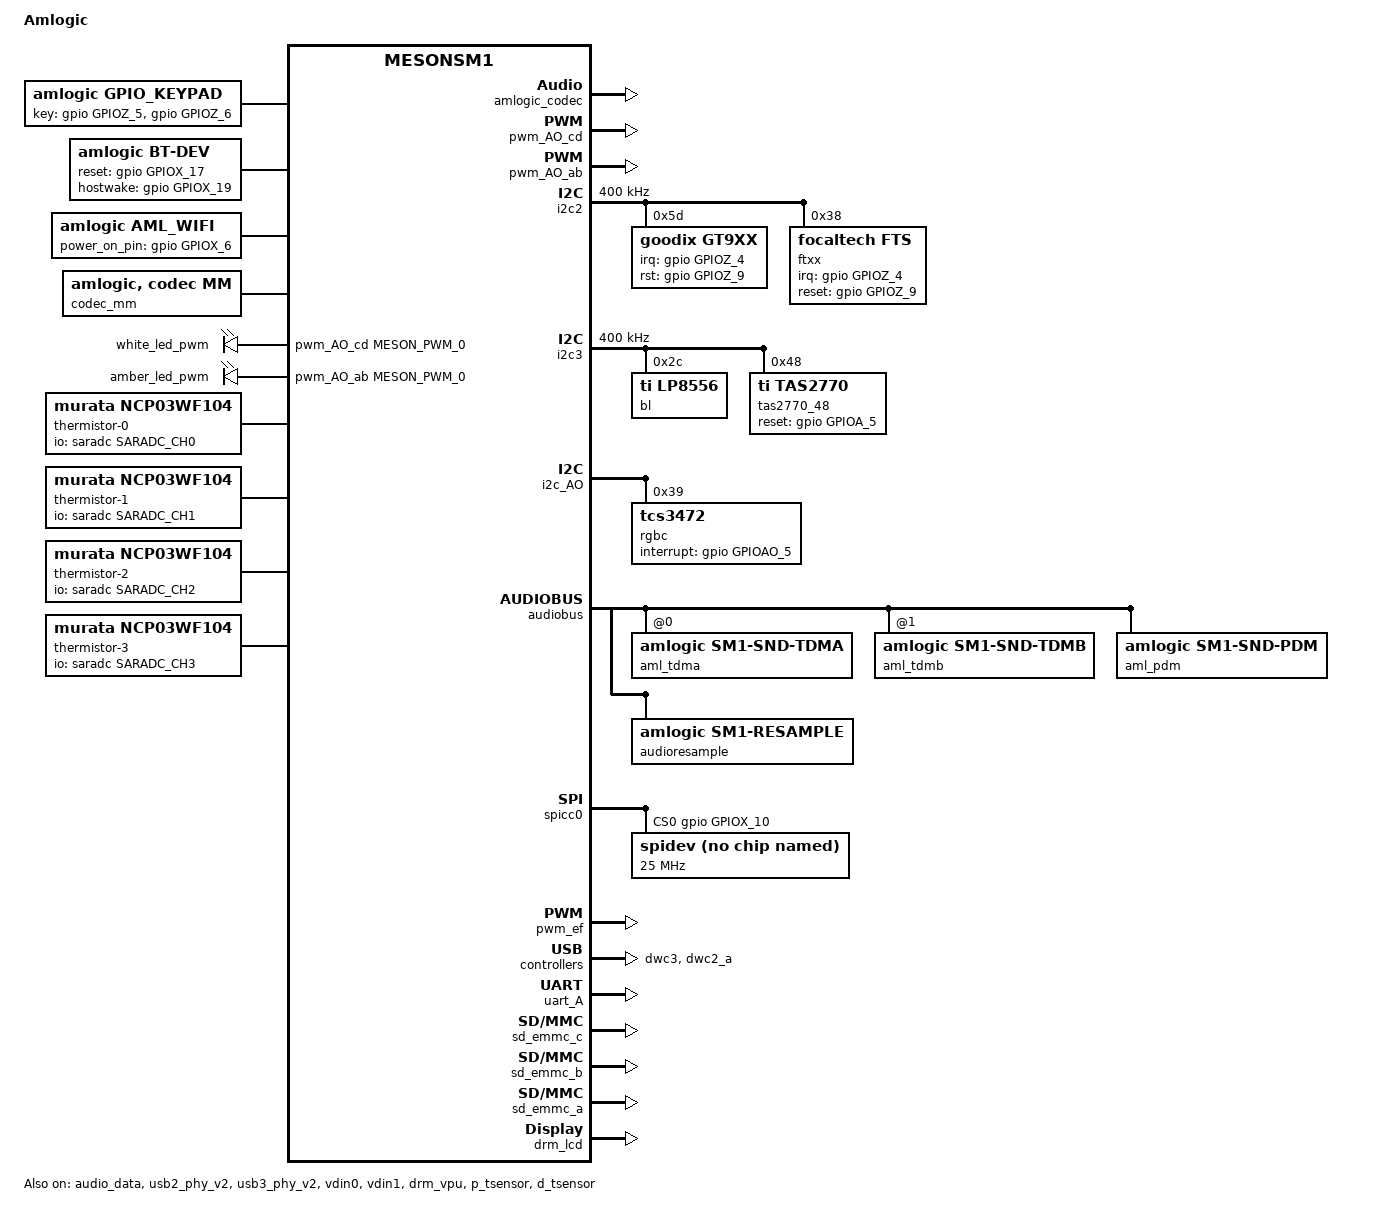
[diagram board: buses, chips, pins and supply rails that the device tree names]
/*
 * arch/arm64/boot/dts/amlogic/elaine-p0.dts
 *
 * Copyright (C) 2017 Amlogic, Inc. All rights reserved.
 *
 * This program is free software; you can redistribute it and/or modify
 * it under the terms of the GNU General Public License as published by
 * the Free Software Foundation; either version 2 of the License, or
 * (at your option) any later version.
 *
 * This program is distributed in the hope that it will be useful, but WITHOUT
 * ANY WARRANTY; without even the implied warranty of MERCHANTABILITY or
 * FITNESS FOR A PARTICULAR PURPOSE.  See the GNU General Public License for
 * more details.
 *
 */

/dts-v1/;

#include "mesonsm1.dtsi"
#include "elaine-sm1-panel.dtsi"
#include "elaine-px-partition.dtsi"
#include "mesong12a_drm.dtsi"

/ {
	model = "Amlogic";
	compatible = "amlogic, g12a";
	interrupt-parent = <&gic>;
	#address-cells = <2>;
	#size-cells = <2>;

	aliases {
		serial0 = &uart_AO;
		serial1 = &uart_A;
		serial2 = &uart_B;
		serial3 = &uart_C;
		serial4 = &uart_AO_B;
		tsensor0 = &p_tsensor;
		tsensor1 = &d_tsensor;
		i2c0 = &i2c0;
		i2c1 = &i2c1;
		i2c2 = &i2c2;
		i2c3 = &i2c3;
		i2c4 = &i2c_AO;
	};

	memory@00000000 {
		device_type = "memory";
		linux,usable-memory = <0x0 0x100000 0x0 0x5ff00000>;
	};

	reserved-memory {
		#address-cells = <2>;
		#size-cells = <2>;
		ranges;
		/* global autoconfigured region for contiguous allocations */
		ramoops@0x07400000 {
			compatible = "ramoops";
			reg = <0x0 0x07400000 0x0 0x00100000>;
			record-size = <0x8000>;
			console-size = <0x8000>;
			ftrace-size = <0x0>;
			pmsg-size = <0x8000>;
		};
		secmon_reserved:linux,secmon {
			compatible = "shared-dma-pool";
			reusable;
			size = <0x0 0x2400000>;
			alignment = <0x0 0x400000>;
			alloc-ranges = <0x0 0x05000000 0x0 0x2400000>;
			clear-map;
		};
		secos_reserved:linux,secos {
			status = "disable";
			compatible = "amlogic, aml_secos_memory";
			reg = <0x0 0x05300000 0x0 0x2000000>;
			no-map;
		};
		logo_reserved:linux,meson-fb {
			compatible = "shared-dma-pool";
			reusable;
			size = <0x0 0x800000>;
			alignment = <0x0 0x400000>;
			alloc-ranges = <0x0 0x5f800000 0x0 0x800000>;
		};
		ion_cma_reserved:linux,ion-dev {
			compatible = "shared-dma-pool";
			reusable;
			size = <0x0 0x8000000>;
			alignment = <0x0 0x400000>;
		};
		//di_reserved:linux,di {
			//compatible = "amlogic, di-mem";
			/* buffer_size = 3621952(yuv422 8bit) */
			/* 4179008(yuv422 10bit full pack mode) */
			/** 10x3621952=34.6M(0x23) support 8bit **/
			/** 10x4736064=45.2M(0x2e) support 12bit **/
			/** 10x4179008=40M(0x28) support 10bit **/
			//size = <0x0 0x2800000>;
			//no-map;
		//};
		/*  POST PROCESS MANAGER */
		ppmgr_reserved:linux,ppmgr {
			compatible = "shared-dma-pool";
			size = <0x0 0x0>;
		};

		codec_mm_cma:linux,codec_mm_cma {
			compatible = "shared-dma-pool";
			reusable;
			/* ion_codec_mm max can alloc size 80M*/
			size = <0x0 0xc800000>;
			alignment = <0x0 0x400000>;
			linux,contiguous-region;
			clear-map;
		};
		/* codec shared reserved */
		codec_mm_reserved:linux,codec_mm_reserved {
			compatible = "amlogic, codec-mm-reserved";
			size = <0x0 0x0>;
			alignment = <0x0 0x100000>;
			//no-map;
		};
		/* YUV decoder V4L2 CMA */
		codec_yuvdecoder_cma:linux,yuvdecoder_cma {
			compatible = "shared-dma-pool";
			size = <0x0 0xc00000>;
			linux,contiguous-region;
		};
		/*  vdin0 CMA pool */
		vdin0_cma_reserved:linux,vdin0_cma {
			compatible = "shared-dma-pool";
			reusable;
		/* 1920x1080x2x4  =16+4 M */
			size = <0x0 0x04000000>;
			alignment = <0x0 0x400000>;
		};
		/*  vdin1 CMA pool */
		vdin1_cma_reserved:linux,vdin1_cma {
			compatible = "shared-dma-pool";
			reusable;
			/* 1920x1080x2x4  =16 M */
			size = <0x0 0x04000000>;
			alignment = <0x0 0x400000>;
		};
	};

	galcore {
		status = "okay";
	};

	gpio_key {
		compatible = "amlogic, gpio_keypad";
		status = "okay";
		scan_period = <20>;
		key_num = <2>;
		key_name = "vol_up", "vol_down";
		key_code = <115 114>;
		key-gpios = <&gpio  GPIOZ_5  GPIO_ACTIVE_HIGH
					&gpio  GPIOZ_6  GPIO_ACTIVE_HIGH>;
		interrupts = < 0 70 1
			0 71 2>;
		interrupt-names = "irq_keyup", "irq_keydown";
	};

	cvbsout {
		compatible = "amlogic, cvbsout-sm1";
		dev_name = "cvbsout";
		status = "disabled";
		clocks = <&clkc CLKID_VCLK2_ENCI
			&clkc CLKID_VCLK2_VENCI0
			&clkc CLKID_VCLK2_VENCI1
			&clkc CLKID_DAC_CLK>;
		clock-names = "venci_top_gate",
			"venci_0_gate",
			"venci_1_gate",
			"vdac_clk_gate";
		/* clk path */
		/* 0:vid_pll vid2_clk */
		/* 1:gp0_pll vid2_clk */
		/* 2:vid_pll vid1_clk */
		/* 3:gp0_pll vid1_clk */
		clk_path = <0>;

		/* performance: reg_address, reg_value */
		/* sm1 */
		performance = <0x1bf0  0x9
			0x1b56  0x333
			0x1b12  0x8080
			0x1b05  0xfd
			0x1c59  0xf850
			0xffff  0x0>; /* ending flag */
		performance_sarft = <0x1bf0  0x9
			0x1b56  0x333
			0x1b12  0x0
			0x1b05  0x9
			0x1c59  0xfc48
			0xffff  0x0>; /* ending flag */
		performance_revB_telecom = <0x1bf0  0x9
			0x1b56  0x546
			0x1b12  0x8080
			0x1b05  0x9
			0x1c59  0xf850
			0xffff  0x0>; /* ending flag */
	};

	bt-dev{
		compatible = "amlogic, bt-dev";
		dev_name = "bt-dev";
		status = "okay";
		gpio_reset = <&gpio       GPIOX_17       GPIO_ACTIVE_HIGH>;
		gpio_hostwake = <&gpio       GPIOX_19       GPIO_ACTIVE_HIGH>;
	};

	wifi{
		compatible = "amlogic, aml_wifi";
		dev_name = "aml_wifi";
		status = "okay";
		interrupt_pin = <&gpio       GPIOX_7       GPIO_ACTIVE_HIGH>;
		irq_trigger_type = "GPIO_IRQ_LOW";
		power_on_pin = <&gpio       GPIOX_6       GPIO_ACTIVE_HIGH>;
		dhd_static_buf;	//if use bcm wifi, config dhd_static_buf
		pinctrl-names = "default";
		pinctrl-0 = <&pwm_e_pins>;
		pwm_config = <&wifi_pwm_conf>;
	};

	wifi_pwm_conf:wifi_pwm_conf{
		pwm_channel1_conf {
			pwms = <&pwm_ef MESON_PWM_0 30541 0>;
			duty-cycle = <15270>;
			times = <10>;
		};
		pwm_channel2_conf {
			pwms = <&pwm_ef MESON_PWM_2 30500 0>;
			duty-cycle = <15250>;
			times = <12>;
		};
	};

	codec_mm {
		compatible = "amlogic, codec, mm";
		memory-region = <&codec_mm_cma &codec_mm_reserved>;
		dev_name = "codec_mm";
		status = "okay";
	};

	ppmgr {
		compatible = "amlogic, ppmgr";
		memory-region = <&ppmgr_reserved>;
		dev_name = "ppmgr";
		status = "okay";
	};

	ionvideo {
		compatible = "amlogic, ionvideo";
		dev_name = "ionvideo";
		status = "okay";
	};

	unifykey{
		compatible = "amlogic, unifykey";
		status = "disabled";

		unifykey-num = <17>;
		unifykey-index-0 = <&keysn_0>;
		unifykey-index-1 = <&keysn_1>;
		unifykey-index-2 = <&keysn_2>;
		unifykey-index-3 = <&keysn_3>;
		unifykey-index-4 = <&keysn_4>;
		unifykey-index-5 = <&keysn_5>;
		unifykey-index-6 = <&keysn_6>;
		unifykey-index-7 = <&keysn_7>;
		unifykey-index-8 = <&keysn_8>;
		unifykey-index-9 = <&keysn_9>;
		unifykey-index-10= <&keysn_10>;
		unifykey-index-11= <&keysn_11>;
		unifykey-index-12= <&keysn_12>;
		unifykey-index-13= <&keysn_13>;
		unifykey-index-14= <&keysn_14>;
		unifykey-index-15= <&keysn_15>;
		unifykey-index-16= <&keysn_16>;

		keysn_0: key_0{
			key-name = "usid";
			key-device = "normal";
			key-permit = "read","write","del";
		};
		keysn_1:key_1{
			key-name = "mac";
			key-device = "normal";
			key-permit = "read","write","del";
		};
		keysn_2:key_2{
			key-name = "hdcp";
			key-device = "secure";
			key-type = "sha1";
			key-permit = "read","write","del";
		};
		keysn_3:key_3{
			key-name = "secure_boot_set";
			key-device = "efuse";
			key-permit = "write";
		};
		keysn_4:key_4{
			key-name = "mac_bt";
			key-device = "normal";
			key-permit = "read","write","del";
			key-type  = "mac";
		};
		keysn_5:key_5{
			key-name = "mac_wifi";
			key-device = "normal";
			key-permit = "read","write","del";
			key-type = "mac";
		};
		keysn_6:key_6{
			key-name = "hdcp2_tx";
			key-device = "normal";
			key-permit = "read","write","del";
		};
		keysn_7:key_7{
			key-name = "hdcp2_rx";
			key-device = "normal";
			key-permit = "read","write","del";
		};
		keysn_8:key_8{
			key-name = "widevinekeybox";
			key-device = "secure";
			key-permit = "read","write","del";
		};
		keysn_9:key_9{
			key-name = "deviceid";
			key-device = "normal";
			key-permit = "read","write","del";
		};
		keysn_10:key_10{
			key-name = "hdcp22_fw_private";
			key-device = "secure";
			key-permit = "read","write","del";
		};
		keysn_11:key_11{
			key-name = "PlayReadykeybox25";
			key-device = "secure";
			key-permit = "read","write","del";
		};
		keysn_12:key_12{
			key-name = "prpubkeybox";// PlayReady
			key-device = "secure";
			key-permit = "read","write","del";
		};
		keysn_13:key_13{
			key-name = "prprivkeybox";// PlayReady
			key-device = "secure";
			key-permit = "read","write","del";
		};
		keysn_14:key_14{
			key-name = "attestationkeybox";// attestation key
			key-device = "secure";
			key-permit = "read","write","del";
		};
		keysn_15:key_15{
			key-name = "region_code";
			key-device = "normal";
			key-permit = "read","write","del";
		};
		keysn_16:key_16{
			key-name = "netflix_mgkid";
			key-device = "secure";
			key-permit = "read","write","del";
		};
	};//End unifykey

	//efusekey:efusekey{
	//	keynum = <4>;
	//	key0 = <&key_0>;
	//	key1 = <&key_1>;
	//	key2 = <&key_2>;
	//	key3 = <&key_3>;
	//	key_0:key_0{
	//		keyname = "mac";
	//		offset = <0>;
	//		size = <6>;
	//	};
	//	key_1:key_1{
	//		keyname = "mac_bt";
	//		offset = <6>;
	//		size = <6>;
	//	};
	//	key_2:key_2{
	//		keyname = "mac_wifi";
	//		offset = <12>;
	//		size = <6>;
	//	};
	//	key_3:key_3{
	//		keyname = "usid";
	//		offset = <18>;
	//		size = <16>;
	//	};
	//};//End efusekey

	amlvecm {
		compatible = "amlogic, vecm";
		dev_name = "aml_vecm";
		status = "okay";
		gamma_en = <1>;/*1:enable ;0:disable*/
		wb_en = <0>;/*1:enable ;0:disable*/
		cm_en = <0>;/*1:enable ;0:disable*/
	};

	amvdec_yuv {
		compatible = "amlogic, amvdec_yuv";
		memory-region = <&codec_yuvdecoder_cma>;
		status = "okay";
	};

	amdolby_vision {
		compatible = "amlogic, dolby_vision_sm1";
		dev_name = "aml_amdolby_vision_driver";
		status = "disabled";
		tv_mode = <0>;/*1:enabel ;0:disable*/
	};

	meson-fb {
		memory-region = <&logo_reserved>;
		dev_name = "meson-fb";
		status = "disable";
	};

	/* Audio Related start */
	pdm_codec:dummy{
		#sound-dai-cells = <0>;
		compatible = "amlogic, pdm_dummy_codec";
		status = "okay";
	};
	dummy_codec:dummy{
		#sound-dai-cells = <0>;
		compatible = "amlogic, aml_dummy_codec";
		status = "okay";
	};
	amlogic_codec:t9015{
		#sound-dai-cells = <0>;
		compatible = "amlogic, aml_codec_T9015";
		reg = <0x0 0xFF632000 0x0 0x2000>;
		is_auge_used = <1>; /* meson or auge chipset used */
		tdmout_index = <1>;
		status = "okay";
	};
	audio_effect:eqdrc{
		/*eq_enable = <1>;*/
		/*drc_enable = <1>;*/
		/*
		 * 0:tdmout_a
		 * 1:tdmout_b
		 * 2:tdmout_c
		 * 3:spdifout
		 * 4:spdifout_b
		 */
		eqdrc_module = <1>;
		/* max 0xf, each bit for one lane, usually one lane */
		lane_mask = <0x1>;
		/* max 0xff, each bit for one channel */
		channel_mask = <0x3>;
	};
	auge_sound {
		compatible = "amlogic, g12a-sound-card";
		aml-audio-card,name = "AML-AUGESOUND";

		/*avout mute gpio*/
		//avout_mute-gpios = <&gpio_ao GPIOAO_2 GPIO_ACTIVE_HIGH>;

		aml-audio-card,dai-link@0 {
			format = "dsp_a";
			mclk-fs = <256>;
			//continuous-clock;
			//bitclock-inversion;
			//frame-inversion;
			//bitclock-master = <&tdmacodec>;
			//frame-master = <&tdmacodec>;
			/* suffix-name, sync with android audio hal
			 * what's the dai link used for
			 */
			suffix-name = "alsaPORT-pcm";
			tdmacpu: cpu {
				sound-dai = <&aml_tdma>;
				dai-tdm-slot-tx-mask = <1>;
				dai-tdm-slot-rx-mask = <1>;
				dai-tdm-slot-num = <1>;
				dai-tdm-slot-width = <16>;
				system-clock-frequency = <24576000>;
			};
			tdmacodec: codec {
				sound-dai = <&dummy_codec>;
			};
		};

		aml-audio-card,dai-link@1 {
			format = "i2s";// "dsp_a";
			mclk-fs = <256>;
			//continuous-clock;
			//bitclock-inversion;
			//frame-inversion;
			bitclock-master = <&aml_tdmb>;
			frame-master = <&aml_tdmb>;
			//bitclock-master = <&tdmbcodec>;
			//frame-master = <&tdmbcodec>;
			/* suffix-name, sync with android audio hal
			 * what's the dai link used for
			 */
			suffix-name = "alsaPORT-i2s";
			cpu {
				sound-dai = <&aml_tdmb>;
				dai-tdm-slot-tx-mask = <1 1>;
				dai-tdm-slot-rx-mask = <1 1>;
				dai-tdm-slot-num = <2>;
				/*
				 * dai-tdm-slot-tx-mask =
				 *	<1 1 1 1 1 1 1 1>;
				 * dai-tdm-slot-rx-mask =
				 *	<1 1 1 1 1 1 1 1>;
				 * dai-tdm-slot-num = <8>;
				 */
				dai-tdm-slot-width = <32>;
				system-clock-frequency = <12288000>;
			};
			tdmbcodec: codec {
				sound-dai = < &tas2770_48>;
			};
		};

		aml-audio-card,dai-link@2 {
			mclk-fs = <64>;
			/* suffix-name, sync with android audio hal
			 * what's the dai link used for
			 */
			suffix-name = "alsaPORT-pdm";
			cpu {
				sound-dai = <&aml_pdm>;
			};
			codec {
				sound-dai = <&pdm_codec>;
			};
		};

	};
	audiolocker: locker {
		compatible = "amlogic, audiolocker";
		clocks = <&clkaudio CLKID_AUDIO_LOCKER_OUT
				&clkaudio CLKID_AUDIO_LOCKER_IN
				&clkaudio CLKID_AUDIO_MCLK_D
				&clkaudio CLKID_AUDIO_MCLK_E
				&clkc CLKID_MPLL1
				&clkc CLKID_MPLL2>;
		clock-names = "lock_out", "lock_in", "out_src",
					"in_src", "out_calc", "in_ref";
		interrupts = <GIC_SPI 1 IRQ_TYPE_EDGE_RISING>;
		interrupt-names = "irq";
		frequency = <49000000>; /* pll */
		dividor = <49>; /* locker's parent */
		status = "disabled";
	};
	/* Audio Related end */
	p_tsensor: p_tsensor@ff634800 {
		compatible = "amlogic, r1p1-tsensor";
		device_name = "meson-pthermal";
		status = "okay";
		reg = <0x0 0xff634800 0x0 0x50>,
			<0x0 0xff800268 0x0 0x4>;
		cal_type = <0x1>;
		cal_a = <324>;
		cal_b = <424>;
		cal_c = <3159>;
		cal_d = <9411>;
		rtemp = <115000>;
		interrupts = <0 35 0>;
		clocks = <&clkc CLKID_TS_COMP>; /* CLKID_TS_COMP>;*/
		clock-names = "ts_comp";
		#thermal-sensor-cells = <1>;
	};

	d_tsensor: d_tsensor@ff634c00 {
		compatible = "amlogic, r1p1-tsensor";
		device_name = "meson-dthermal";
		status = "okay";
		reg = <0x0 0xff634c00 0x0 0x50>,
			<0x0 0xff800230 0x0 0x4>;
		cal_type = <0x1>;
		cal_a = <324>;
		cal_b = <424>;
		cal_c = <3159>;
		cal_d = <9411>;
		rtemp = <115000>;
		interrupts = <0 36 0>;
		clocks = <&clkc CLKID_TS_COMP>; /* CLKID_TS_COMP>;*/
		clock-names = "ts_comp";
		#thermal-sensor-cells = <1>;
	};

	meson_cooldev: meson-cooldev@0 {
			status = "okay";
			compatible = "amlogic, meson-cooldev";
			device_name = "mcooldev";
			cooling_devices {
				cpufreq_cool_cluster0 {
					min_state = <1000000>;
					dyn_coeff = <115>;
					cluster_id = <0>;
					node_name = "cpufreq_cool0";
					device_type = "cpufreq";
				};
				cpucore_cool_cluster0 {
					min_state = <1>;
					dyn_coeff = <0>;
					cluster_id = <0>;
					node_name = "cpucore_cool0";
					device_type = "cpucore";
				};
				gpufreq_cool {
					min_state = <400>;
					dyn_coeff = <358>;
					gpu_pp = <2>;
					cluster_id = <0>;
					node_name = "gpufreq_cool0";
					device_type = "gpufreq";
				};
				gpucore_cool {
					min_state = <1>;
					dyn_coeff = <0>;
					cluster_id = <0>;
					node_name = "gpucore_cool0";
					device_type = "gpucore";
				};
			};
			cpufreq_cool0:cpufreq_cool0 {
				#cooling-cells = <2>; /* min followed by max */
			};
			cpucore_cool0:cpucore_cool0 {
				#cooling-cells = <2>; /* min followed by max */
			};
			gpufreq_cool0:gpufreq_cool0 {
				#cooling-cells = <2>; /* min followed by max */
			};
			gpucore_cool0:gpucore_cool0 {
				#cooling-cells = <2>; /* min followed by max */
			};
		};
		/*meson cooling devices end*/

	thermal-zones {
		soc_thermal: soc_thermal {
			polling-delay = <1000>;
			polling-delay-passive = <100>;
			sustainable-power = <1460>;
			thermal-sensors = <&p_tsensor 0>;
			trips {
				pswitch_on: trip-point@0 {
					temperature = <60000>;
					hysteresis = <5000>;
					type = "passive";
				};
				pcontrol: trip-point@1 {
					temperature = <75000>;
					hysteresis = <5000>;
					type = "passive";
				};
				phot: trip-point@2 {
					temperature = <85000>;
					hysteresis = <5000>;
					type = "hot";
				};
				pcritical: trip-point@3 {
					temperature = <110000>;
					hysteresis = <1000>;
					type = "critical";
				};
			};

			cooling-maps {
				cpufreq_cooling_map {
					trip = <&pcontrol>;
					cooling-device = <&cpufreq_cool0 0 4>;
					contribution = <1024>;
				};
				cpucore_cooling_map {
					trip = <&pcontrol>;
					cooling-device = <&cpucore_cool0 0 3>;
					contribution = <1024>;
				};
				gpufreq_cooling_map {
					trip = <&pcontrol>;
					cooling-device = <&gpufreq_cool0 0 4>;
					contribution = <1024>;
				};
				gpucore_cooling_map {
					trip = <&pcontrol>;
					cooling-device = <&gpucore_cool0 0 2>;
					contribution = <1024>;
				};
			};
		};
		ddr_thermal: ddr_thermal {
			polling-delay = <2000>;
			polling-delay-passive = <1000>;
			sustainable-power = <1460>;
			thermal-sensors = <&d_tsensor 1>;
			trips {
				dswitch_on: trip-point@0 {
					temperature = <60000>;
					hysteresis = <5000>;
					type = "passive";
				};
				dcontrol: trip-point@1 {
					temperature = <75000>;
					hysteresis = <5000>;
					type = "passive";
				};
				dhot: trip-point@2 {
					temperature = <85000>;
					hysteresis = <5000>;
					type = "hot";
				};
				dcritical: trip-point@3 {
					temperature = <110000>;
					hysteresis = <1000>;
					type = "critical";
				};
			};

		};
	};
	/*thermal zone end*/
	/* for pwm-regulator */
	cpu_opp_table0: cpu_opp_table0 {
		compatible = "operating-points-v2";
		opp-shared;

		opp00 {
			opp-hz = /bits/ 64 <100000000>;
			opp-microvolt = <760000>;
		};
		opp01 {
			opp-hz = /bits/ 64 <250000000>;
			opp-microvolt = <760000>;
		};
		opp02 {
			opp-hz = /bits/ 64 <500000000>;
			opp-microvolt = <760000>;
		};
		opp03 {
			opp-hz = /bits/ 64 <667000000>;
			opp-microvolt = <780000>;
		};
		opp04 {
			opp-hz = /bits/ 64 <1000000000>;
			opp-microvolt = <800000>;
		};
		opp05 {
			opp-hz = /bits/ 64 <1200000000>;
			opp-microvolt = <810000>;
		};
		opp06 {
			opp-hz = /bits/ 64 <1404000000>;
			opp-microvolt = <820000>;
		};
		opp07 {
			opp-hz = /bits/ 64 <1512000000>;
			opp-microvolt = <830000>;
		};
		opp08 {
			opp-hz = /bits/ 64 <1608000000>;
			opp-microvolt = <860000>;
		};
		opp09 {
			opp-hz = /bits/ 64 <1704000000>;
			opp-microvolt = <900000>;
		};
		opp10 {
			opp-hz = /bits/ 64 <1800000000>;
			opp-microvolt = <940000>;
		};
		opp11 {
			opp-hz = /bits/ 64 <1908000000>;
			opp-microvolt = <1000000>;
		};
	};

	cpufreq-meson {
		compatible = "amlogic, cpufreq-meson";
		pinctrl-names = "default";
		pinctrl-0 = <&pwm_ao_d_pins3>;
		status = "okay";
	};

	white_led {
		compatible = "pwm-leds";
		status = "okay";
		white_led {
			label = "white_led_pwm";
			pwms = <&pwm_AO_cd MESON_PWM_0 30000 0>;
			max-brightness = <255>;
		};
	};
	amber_led {
		compatible = "pwm-leds";
		status = "okay";
		amber_led {
			label = "amber_led_pwm";
			pwms = <&pwm_AO_ab MESON_PWM_0 500000 0>;
			max-brightness = <4095>;
		};
	};


        thermistor-0 {
                compatible = "murata,ncp03wf104";
                pullup-uv = <1800000>;
                pullup-ohm = <47000>;
                pulldown-ohm = <0>;
                io-channels = <&saradc SARADC_CH0>;
        };

        thermistor-1 {
                compatible = "murata,ncp03wf104";
                pullup-uv = <1800000>;
                pullup-ohm = <47000>;
                pulldown-ohm = <0>;
                io-channels = <&saradc SARADC_CH1>;
        };

        thermistor-2 {
                compatible = "murata,ncp03wf104";
                pullup-uv = <1800000>;
                pullup-ohm = <47000>;
                pulldown-ohm = <0>;
                io-channels = <&saradc SARADC_CH2>;
        };

        thermistor-3 {
                compatible = "murata,ncp03wf104";
                pullup-uv = <1800000>;
                pullup-ohm = <47000>;
                pulldown-ohm = <0>;
                io-channels = <&saradc SARADC_CH3>;
        };
}; /* end of / */

&pwm_AO_cd {
		status = "okay";
	};

&pwm_AO_ab {
		status = "okay";
		pinctrl-names = "default";
		pinctrl-0 = <&pwm_ao_a_pins &pwm_ao_b_pins>;
	};

&i2c2 {
	status = "okay";
	pinctrl-names="default";
	pinctrl-0=<&i2c2_master_pins2>;
	clock-frequency = <400000>;
	gt9xx@5d {
		compatible = "goodix,gt9xx";
		status = "okay";
		reg = <0x5d>;
		goodix,irq-gpio = <&gpio GPIOZ_4 0x00>;
		goodix,rst-gpio = <&gpio GPIOZ_9 0x00>;
		goodix,cfg-group2 = [
			5C 00 04 58 02 05 BD C0 00 08 1E 05
			50 32 05 0B 00 00 00 00 40 12 00 17
			17 19 12 8D 2D 0F 3F 41 B2 04 00 00
			00 BC 03 1D 1E 80 01 00 14 46 00 00
			00 00 00 37 55 8F C5 02 07 11 00 04
			8A 39 00 81 3E 00 78 44 00 71 4A 00
			6A 51 00 6A 00 00 00 00 00 00 00 00
			00 00 00 00 00 00 00 00 00 00 00 00
			00 00 00 00 00 00 00 00 00 00 00 00
			02 00 00 00 1C 1A 18 16 14 12 10 0E
			0C 0A 08 06 04 02 00 00 FF FF 1F E7
			FF FF FF 0F FF FF FF FF FF FF 2A 29
			28 27 26 25 24 23 22 21 20 1F 1E 0C
			0B 0A 09 08 07 06 05 04 03 02 01 00
			00 00 00 00 00 00 00 00 00 00 00 00
			00 00 00 00 00 00 00 00 00 00 00 00
			00 00 00 00 00 00 00 00 00 00 00 00
			00 00 00 00 00 00 00 00 00 00 00 00
			00 00 00 00 00 00 00 00 00 00 6C 01];
	};
	ftxx@38 {
		compatible = "focaltech,fts";
		status = "okay";
		reg = <0x38>;
		focaltech,irq-gpio = <&gpio GPIOZ_4 0x00>;
		focaltech,reset-gpio = <&gpio GPIOZ_9 0x00>;
		focaltech,display-coords = <0 0 599 1023>;
		focaltech,max-touch-number = <10>;
	};
};

&i2c3 {
	status = "okay";
	pinctrl-names="default";
	pinctrl-0=<&i2c3_master_pins2>;
	clock-frequency = <400000>; /* 400k */

	bl: backlight@2c {
		compatible = "ti,lp8556";
		reg = <0x2c>;
		bl-name = "lcd-bl";
		// only read eeprom on initial power-up, brightness register
		// control only, backlight enabled
		dev-ctrl = /bits/ 8 <0x85>;
		// Enable undervoltage protection at  5.2 V, "disable"
		// backlight (i2c only), disable set resistors
		rom_a2h {
			rom-addr = /bits/ 8 <0xa2>;
			rom-val = /bits/ 8 <0x30>;
		};
		// 50 ms slope, no filtering, 1-bit hysteresis with 12-bit res
		rom_a3h {
			rom-addr = /bits/ 8 <0xa3>;
			rom-val = /bits/ 8 <0x32>;
		};
		// 9.6kHz PWM rate, 3 phase drivers
		rom_a5h {
			rom-addr = /bits/ 8 <0xa5>;
			rom-val = /bits/ 8 <0x54>;
		};
		// EN_DRV3, EN_DRV2, boost inductor current limit = 1.6 A
		rom_a7h {
			rom-addr = /bits/ 8 <0xa7>;
			rom-val = /bits/ 8 <0xf4>;
		};
		// VBOOST_MAX = 25 V, JUMP_EN = 0
		rom_a9h {
			rom-addr = /bits/ 8 <0xa9>;
			rom-val = /bits/ 8 <0x60>;
		};
		// STEP_UP = 105 mV, STEP_DN = 105 mV, LED_FAULT_TH = 3 V,
		// LED_COMP_HYST = DRIVER_HEADROOM + 750 mV
		rom_aeh {
			rom-addr = /bits/ 8 <0xae>;
			rom-val = /bits/ 8 <0x09>;
		};
	};

	//tas5720_6c: tas5720@0x6c {
	//	compatible = "ti,tas5720";
	//	#sound-dai-cells = <0>;
	//	reg = <0x6c>;
	//	status = "okay";
	//	reset_pin = <&gpio GPIOA_5 0>;
	//};
	tas2770_48: tas2770@0x48 {
		compatible = "ti,tas2770";
		#sound-dai-cells = <0>;
		reg = <0x48>;
		ti,reset-gpio = <&gpio GPIOA_5 0>;
		ti,asi-format = <0>; /* 0, i2s; 1, DSP; */
                ti,left-slot = <0>; /* <left slot number> */
                ti,right-slot = <1>; /* <right slot number> */
                ti,imon-slot-no = <0>; /* <current sense slot number> */
                ti,vmon-slot-no = <2>; /* <current voltage slot number> */
		status = "ok";
	};
};

&i2c_AO {
	status = "okay";
	pinctrl-names="default";
	pinctrl-0=<&ao_i2c_master_pins1>;

	//Accelerometer
	accel: bma456@18 {
		compatible = "bma4xy_acc";
		reg = <0x18>;
		status = "disabled";
		interrupt_gpio = <&gpio GPIOH_4 GPIO_ACTIVE_HIGH>;
	};

	rgbc: tcs3472@39 {
		compatible = "tcs3472";
		reg = <0x39>;
		status = "okay";
		interrupt_gpio = <&gpio GPIOAO_5 GPIO_ACTIVE_HIGH>;
	};
/*
	temp0: tmp112@48 {
		compatible = "national,lm75";
		reg = <0x48>;
	};
	temp1: tmp112@49 {
		compatible = "national,lm75";
		reg = <0x49>;
	};
	temp2: tmp112@4A {
		compatible = "national,lm75";
		reg = <0x4A>;
	};
	temp3: tmp112@4B {
		compatible = "national,lm75";
		reg = <0x4B>;
	};
	*/
};

&audiobus {
	aml_tdma: tdm@0 {
		compatible = "amlogic, sm1-snd-tdma";
		#sound-dai-cells = <0>;
		dai-tdm-lane-slot-mask-in = <0 1>;
		dai-tdm-oe-lane-slot-mask-out = <1 0>;
		dai-tdm-clk-sel = <0>;
		clocks = <&clkaudio CLKID_AUDIO_MCLK_A
				&clkc CLKID_MPLL0>;
		clock-names = "mclk", "clk_srcpll";
		pinctrl-names = "tdm_pins";
		pinctrl-0 = <&tdmout_a &tdmin_a>;
	};

	aml_tdmb: tdm@1 {
		compatible = "amlogic, sm1-snd-tdmb";
		#sound-dai-cells = <0>;
		dai-tdm-lane-slot-mask-in = <0 0 0 1>;
		dai-tdm-lane-slot-mask-out = <1 0 0 0>;
		dai-tdm-clk-sel = <1>;
		clocks = <&clkaudio CLKID_AUDIO_MCLK_B
				&clkc CLKID_MPLL1
				&clkc CLKID_MPLL0
				&clkaudio CLKID_AUDIO_SPDIFOUT_A>;
		clock-names = "mclk", "clk_srcpll",
			"samesource_srcpll", "samesource_clk";
		pinctrl-names = "tdm_pins";
		pinctrl-0 = <&tdmb_mclk &tdmout_b &tdmin_b>;

		mclk_pad = <0>;  /* 0: mclk_0; 1: mclk_1 */

		/*
		 * 0: tdmout_a;
		 * 1: tdmout_b;
		 * 2: tdmout_c;
		 * 3: spdifout;
		 * 4: spdifout_b;
		 */
		samesource_sel = <3>;

		status = "okay";
	};

	aml_pdm: pdm {
		compatible = "amlogic, sm1-snd-pdm";
		#sound-dai-cells = <0>;
		clocks = <&clkaudio CLKID_AUDIO_GATE_PDM
			&clkc CLKID_FCLK_DIV3
			&clkc CLKID_MPLL1
			&clkaudio CLKID_AUDIO_PDMIN0
			&clkaudio CLKID_AUDIO_PDMIN1>;
		clock-names = "gate",
			"sysclk_srcpll",
			"dclk_srcpll",
			"pdm_dclk",
			"pdm_sysclk";
		pinctrl-names = "pdm_pins";
		pinctrl-0 = <&pdmin>;
		filter_mode = <1>; /* mode 0~4, defalut:1 */
		status = "okay";
	};

	audioresample: resample {
		compatible = "amlogic, sm1-resample";
		clocks = <&clkc CLKID_MPLL3
				&clkaudio CLKID_AUDIO_MCLK_F
				&clkaudio CLKID_AUDIO_RESAMPLE_A>;
		clock-names = "resample_pll", "resample_src", "resample_clk";
		/*same with toddr_src
		 *	TDMIN_A, 0
		 *	TDMIN_B, 1
		 *	TDMIN_C, 2
		 *	SPDIFIN, 3
		 *	PDMIN,  4
		 *	NONE,
		 *	TDMIN_LB, 6
		 *	LOOPBACK, 7
		 */
		resample_module = <4>;
		status = "okay";
	};
	aml_pwrdet: pwrdet {
		compatible = "amlogic, sm1-power-detect";

		interrupts = <GIC_SPI 155 IRQ_TYPE_EDGE_RISING>;
		interrupt-names = "pwrdet_irq";

		/* pwrdet source sel
		 * 7: loopback;
		 * 6: tdmin_lb;
		 * 5: reserved;
		 * 4: pdmin;
		 * 3: spdifin;
		 * 2: tdmin_c;
		 * 1: tdmin_b;
		 * 0: tdmin_a;
		 */
		pwrdet_src = <4>;

		hi_th = <0x70000>;
		lo_th = <0x16000>;

		status = "disabled";
	};
}; /* end of audiobus */

&pinctrl_periphs {
	tdmout_a: tdmout_a {
		mux { /* GPIOX_11, GPIOX_10, GPIOX_9 */
			groups = "tdma_sclk",
				"tdma_fs",
				"tdma_dout0";
			function = "tdma_out";
		};
	};

	tdmin_a: tdmin_a {
		mux { /* GPIOX_8 */
			groups = "tdma_din1";
			function = "tdma_in";
		};
	};

	tdmb_mclk: tdmb_mclk {
		mux {
			groups = "mclk0_a";
			function = "mclk0";
			drive-strength = <2>;
		};
	};
	tdmout_b: tdmout_b {
		mux { /* GPIOA_1, GPIOA_2, GPIOA_3 */
			groups = "tdmb_sclk",
				"tdmb_fs",
				"tdmb_dout0";
			function = "tdmb_out";
			drive-strength = <2>;
		};
	};

	tdmin_b:tdmin_b {
		mux { /* GPIOA_6 */
			groups = "tdmb_din3_a"
				/*,"tdmb_slv_sclk", "tdmb_slv_fs"*/;
			function = "tdmb_in";
			drive-strength = <2>;
		};
	};

	//tdmc_mclk: tdmc_mclk {
	//	mux { /* GPIOA_11 */
	//		groups = "mclk1_a";
	//		function = "mclk1";
	//	};
	//};

	//tdmout_c:tdmout_c {
	//	mux { /* GPIOA_12, GPIOA_13, GPIOA_10, GPIOA_8, GPIOA_7*/
	//		groups = "tdmc_sclk_a",
	//			"tdmc_fs_a",
        //                        "tdmc_dout0_a"
	//			/*,	"tdmc_dout2",
	//			 * "tdmc_dout3"
	//			 */;
	//		function = "tdmc_out";
	//	};
	//};

	//tdmin_c:tdmin_c {
	//	mux { /* GPIOA_9 */
	//		groups = "tdmc_din1_a";
	//		function = "tdmc_in";
	//	};
	//};

	//spdifin: spdifin {
	//	mux {/* GPIOH_5 */
	//		groups = "spdif_in_h";
	//		function = "spdif_in";
	//	};
	//};

	/* GPIOH_4 */
	/*
	 * spdifout: spdifout {
	 *	mux {
	 *		groups = "spdif_out_h";
	 *		function = "spdif_out";
	 *	};
	 *};
	 */

	pdmin: pdmin {
		mux { /* gpioa_6, gpioa_7, gpioa_8, gpioa_9*/
			groups = "pdm_din1_a", //gpioa_9
			"pdm_din0_a", //gpioa_8
			//"pdm_din2_a", //gpioa_6
			/*"pdm_din3_a",*/ //gpioa_5
			"pdm_dclk_a"; //gpioa_7
			function = "pdm";
		};
	};
	pwm_d_z: pwm_d_z {
		mux {
			groups = "pwm_d_z";
			function = "pwm_d";
		};
	};
}; /* end of pinctrl_periphs */

&pinctrl_aobus {
	spdifout: spdifout {
		mux { /* gpiao_10 */
			groups = "spdif_out_ao";
			function = "spdif_out_ao";
		};
	};
};  /* end of pinctrl_aobus */

&spicc0 {
	status = "okay";
	pinctrl-names = "default";
	pinctrl-0 = <&spicc0_pins_x>;
	cs-gpios = <&gpio GPIOX_10 0>;
	num_chipselect = <1>;
	spidev@0x0 {
		compatible = "spidev";
		status = "okay";
		reg = <0>;
		spi-max-frequency = <25000000>;
	};
};

&audio_data {
	status = "okay";
};

/* Audio Related End */

&pwm_ef {
	status = "okay";
};

&dwc3 {
	status = "okay";
};

&usb2_phy_v2 {
	status = "okay";
	portnum = <2>;
};

&usb3_phy_v2 {
	status = "okay";
	portnum = <1>;
	otg = <1>;
};

&dwc2_a {
	status = "okay";
	/* 1: host only, 2: device only, 3: OTG */
	controller-type = <1>;
};
&ethmac {
	status = "disabled";
	pinctrl-names = "internal_eth_pins";
	pinctrl-0 = <&internal_eth_pins>;
	mc_val = <0x4be04>;

	internal_phy=<1>;
};

&uart_A {
	status = "okay";
};

/*if you want to use vdin just modify status to "ok"*/
&vdin0 {
	memory-region = <&vdin0_cma_reserved>;
	status = "okay";
	/*vdin write mem color depth support:
	 *bit0:support 8bit
	 *bit1:support 9bit
	 *bit2:support 10bit
	 *bit3:support 12bit
	 *bit4:support yuv422 10bit full pack mode (from txl new add)
	 */
	tv_bit_mode = <0x15>;
};
&vdin1 {
	memory-region = <&vdin1_cma_reserved>;
	status = "okay";
	/*vdin write mem color depth support:
	 *bit0:support 8bit
	 *bit1:support 9bit
	 *bit2:support 10bit
	 *bit3:support 12bit
	 */
	tv_bit_mode = <1>;
};


&sd_emmc_c {
	status = "okay";
	emmc {
		caps = "MMC_CAP_8_BIT_DATA",
			 "MMC_CAP_MMC_HIGHSPEED",
			 "MMC_CAP_SD_HIGHSPEED",
			 "MMC_CAP_NONREMOVABLE",
			/* "MMC_CAP_1_8V_DDR", */
			 "MMC_CAP_HW_RESET",
			 "MMC_CAP_ERASE",
			 "MMC_CAP_CMD23";
		/* caps2 = "MMC_CAP2_HS200", "MMC_CAP2_HS400";*/
		f_min = <400000>;
		f_max = <200000000>;
	};
};

&sd_emmc_b {
	status = "okay";
	sd {
		caps = "MMC_CAP_4_BIT_DATA",
			 "MMC_CAP_MMC_HIGHSPEED",
			 "MMC_CAP_SD_HIGHSPEED";
		f_min = <400000>;
		f_max = <50000000>;
		jtag_pin = <>;
		gpio_cd = <>;
		gpio_dat3 = <>;
		hw_reset = <&gpio GPIOZ_1 GPIO_ACTIVE_HIGH>;
	};
};

&sd_emmc_a {
	status = "okay";
	sdio {
		caps = "MMC_CAP_4_BIT_DATA",
			 "MMC_CAP_MMC_HIGHSPEED",
			 "MMC_CAP_SD_HIGHSPEED",
			 "MMC_CAP_NONREMOVABLE",
			 "MMC_CAP_UHS_SDR12",
			 "MMC_CAP_UHS_SDR25",
			 "MMC_CAP_UHS_SDR50",
			 "MMC_CAP_UHS_SDR104",
			 "MMC_PM_KEEP_POWER",
			 "MMC_CAP_SDIO_IRQ";
		f_min = <400000>;
		f_max = <200000000>;
	};
};

&nand {
	status = "disabled";
	/*fip/tpl configurations, must be same
	* with uboot if bl_mode was set as 1
	* bl_mode: 0 compact mode; 1 descrete mode
	* if bl_mode was set as 1, fip configuration will work
	*/
	bl_mode = <1>;
	/*copy count of fip*/
	fip_copies = <4>;
	/*size of each fip copy */
	fip_size = <0x200000>;
	nand_clk_ctrl = <0xFFE07000>;
	plat-names = "bootloader","nandnormal";
	plat-num = <2>;
	plat-part-0 = <&bootloader>;
	plat-part-1 = <&nandnormal>;
	bootloader: bootloader{
		enable_pad ="ce0";
		busy_pad = "rb0";
		timming_mode = "mode5";
		bch_mode = "bch8_1k";
		t_rea = <20>;
		t_rhoh = <15>;
		chip_num = <1>;
		part_num = <0>;
		rb_detect = <1>;
	};
	nandnormal: nandnormal{
		enable_pad ="ce0";
		busy_pad = "rb0";
		timming_mode = "mode5";
		bch_mode = "bch8_1k";
		plane_mode = "twoplane";
		t_rea = <20>;
		t_rhoh = <15>;
		chip_num = <2>;
		part_num = <3>;
		partition = <&nand_partitions>;
		rb_detect = <1>;
	};
	nand_partitions:nand_partition{
		/*
		 * if bl_mode is 1, tpl size was generate by
		 * fip_copies * fip_size which
		 * will not skip bad when calculating
		 * the partition size;
		 *
		 * if bl_mode is 0,
		 * tpl partition must be comment out.
		 */
		tpl{
			offset=<0x0 0x0>;
			size=<0x0 0x0>;
		};
		fts{
        		offset=<0x0 0x0>;
			size=<0x0 0x100000>;
		};
		factory{
			offset=<0x0 0x0>;
			size=<0x0 0x800000>;
		};
		recovery{
			offset=<0x0 0x0>;
			size=<0x0 0x1000000>;
		};
		boot{
			offset=<0x0 0x0>;
			size=<0x0 0x1000000>;
		};
		system{
			offset=<0x0 0x0>;
			size=<0x0 0xDC00000>;
			read-only;
		};
		cache{
			offset=<0xffffffff 0xffffffff>;
			size=<0x0 0x0>;
		};
	};
};

&secmon {
	reserve_mem_size = <0x02300000>;
	clear_range = <0x05100000 0x1E00000>;
};

&pcie_A {
	reset-gpio = <&gpio GPIOX_7 GPIO_ACTIVE_HIGH>;
	status = "disabled";
};

&meson_cooldev {
	status = "okay";
};

&amhdmitx {
	status= "disabled";
};

&aocec {
	status = "disabled";
};

&drm_vpu {
	status = "okay";
	logo_addr = "0x7f800000";
};

&drm_lcd {
	status = "okay";
};
&efuse {
	compatible = "amlogic, efuse";
	key = <>;
	status = "disabled";
};
&remote {
	status = "disabled";
};
